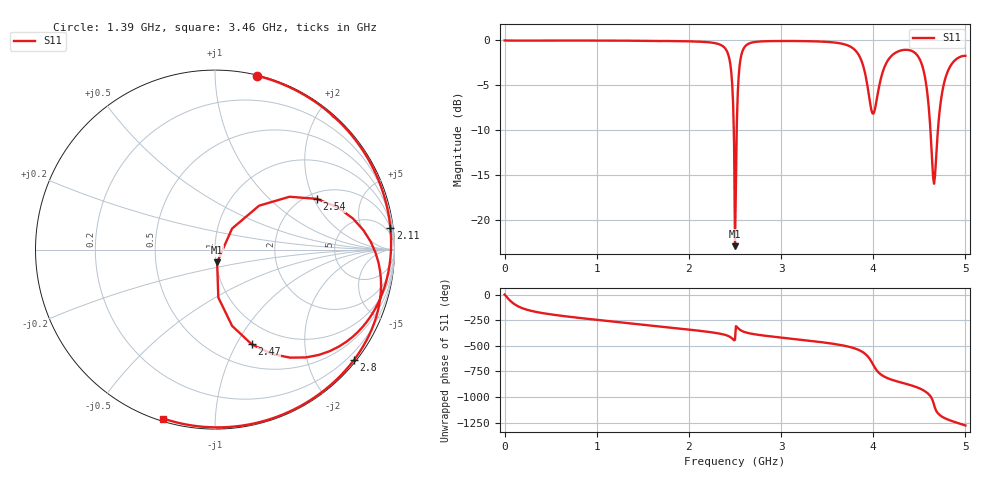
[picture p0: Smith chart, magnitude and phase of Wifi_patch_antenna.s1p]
! Touchstone file exported from HFSS 2024.2.0
!  File:  C:/00_Asenjo/00_Project/Ketupa/simulation/Ansys_HFSS/HFSS_Projects/Wifi_patch_antenna.aedt
!  Generated:  06:15:14 PM Jul 11, 2025
!  Design:  wifi_2.4G
!  Project:  Wifi_patch_antenna
!  Setup:  Setup1
!  Solution:  Sweep
! Variables:
!  L_50ohm = 8mm
!  L_ant = 41mm
!  L_lamda = 9.5mm
!  L_open = 4mm
!  T_HOZ_Plating = 40um
!  W_50ohm = 3.2mm
!  W_ant = 32.5mm
!  W_lamda = 3.2mm
!  W_open = 9.5mm
!  X_0 = 15mm
!  Y_0 = 15mm
!  lamda = 122mm
!  subH = 1.5mm
!  subX = 70mm
!  subY = 70mm
# GHz S MA R 50.000000
! Terminal data exported
! Port[1] = Ant_T1
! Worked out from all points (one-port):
!   651 points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, 1 Hz to 5 GHz, reference 50 ohm
!   lowest |S11| = -22.9 dB at 2.5 GHz (marker M1), VSWR 1.15, Z = 50.7 - j7.18 ohm
!   |S11| at or under -10 dB: 2.487 GHz to 2.519 GHz (32.32 MHz wide, 1.29 % of centre); 4.621 GHz to 4.702 GHz (80.96 MHz wide, 1.74 % of centre)
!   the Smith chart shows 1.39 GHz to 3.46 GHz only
!   S11 on the Smith chart (normalised r, x): 1.39 GHz: 0.00, +1.27; 2.11 GHz: 2, +16; 2.47 GHz: 0.75, -1.16; 2.54 GHz: 2.24, +2.11; 2.8 GHz: 0.05, -2.87; 3.46 GHz: 0.01, -0.74
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1e-09  1 -0.0
! Gamma 50 0
! Port Impedance 50 0
0.07943282  0.9981 -75.3
0.23  0.9983 -144.6
0.63  0.9988 151.3
1.26  0.9975 88.7
1.39  0.9966 76.5
1.88  0.9913 30.2
2.11  0.9847 7.1
2.36  0.9353 -25.8
2.47  0.5659 -68.8
2.5  0.07147 -80.4
2.51  0.1507 51.0
2.54  0.6329 26.5
2.61  0.9274 -7.4
2.8  0.989 -38.4
3.13  0.9931 -72.4
3.46  0.9844 -107.0
3.76  0.9189 -154.6
3.86  0.7982 172.1
3.94  0.5471 117.9
4.04  0.4755 -22.2
4.17  0.7896 -100.7
4.38  0.8855 -156.9
4.49  0.81 170.0
4.57  0.5888 131.7
4.67  0.1758 -25.7
4.78  0.6096 -126.9
5  0.8214 163.6
